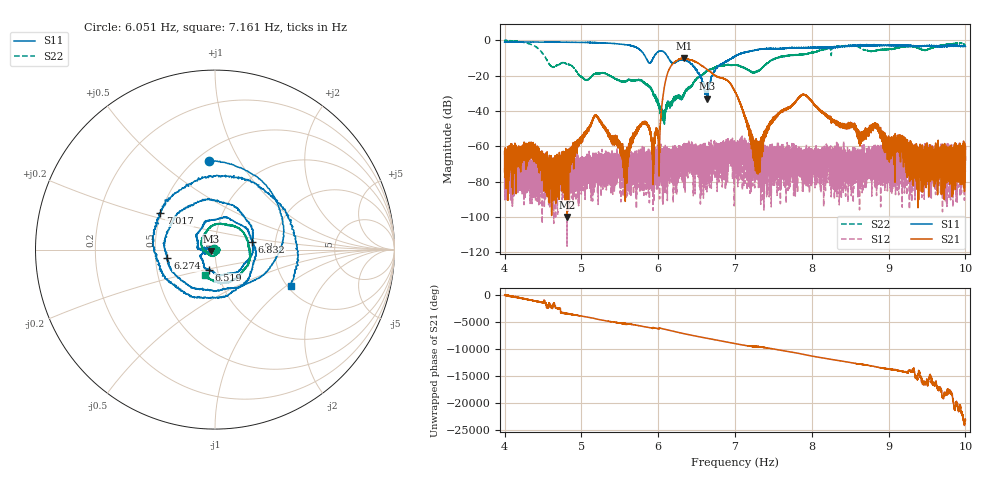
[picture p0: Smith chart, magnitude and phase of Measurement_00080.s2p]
!Created with skrf (http://scikit-rf.org).
# Hz S RI R 50.0
!freq ReS11 ImS11 ReS21 ImS21 ReS12 ImS12 ReS22 ImS22
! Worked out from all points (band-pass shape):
!   14001 points, 4 Hz to 10 Hz, reference 50 ohm
!   highest |S21| = -10.09 dB at 6.341 Hz (marker M1); lowest = -100.0 dB at 4.811 Hz (marker M2)
!   |S21| within 3 dB of the highest: 6.195 Hz to 6.522 Hz (327.6 mHz wide, 5.15 % of centre)
!   lowest |S11| = -33.1 dB at 6.641 Hz (marker M3), VSWR 1.04, Z = 48 - j0.74 ohm
!   |S11| at or under -10 dB: 5.84 Hz to 5.936 Hz (96.29 mHz wide, 1.64 % of centre); 6.131 Hz to 6.96 Hz (828.7 mHz wide, 12.7 % of centre); 6.960234 Hz to 6.961523 Hz (1.289 mHz wide, 0.0185 % of centre)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
!   |S22| runs from -47.5 to -0.2 dB; largest |S21 - S12| = 0.31
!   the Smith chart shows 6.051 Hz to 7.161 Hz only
!   S11 on the Smith chart (normalised r, x): 6.051 Hz: 0.58, +0.76; 6.274 Hz: 0.58, -0.06; 6.519 Hz: 0.91, -0.21; 6.832 Hz: 1.52, +0.13; 7.017 Hz: 0.50, +0.23; 7.161 Hz: 2.07, -1.08
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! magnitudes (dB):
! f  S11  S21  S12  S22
! 4 Hz  -1.1  -74.5  -84.6  -0.2
! 4.811 Hz  -1.2  -100.0  -82.2  -13.5
! 5 Hz  -1.3  -55.3  -82.2  -20.8
! 5.196 Hz  -1.5  -42.8  -67.9  -18.9
! 5.571 Hz  -2.6  -91.2  -70.9  -23.5
! 5.795 Hz  -6.9  -47.0  -64.2  -23.5
! 6 Hz  -6.5  -54.4  -65.3  -35.1
! 6.051 Hz  -6.1  -35.6  -65.8  -41.8
! 6.132 Hz  -10.0  -17.5  -69.0  -35.1
! 6.274 Hz  -11.4  -10.8  -69.2  -32.4
! 6.341 Hz  -10.9  -10.1  -64.1  -30.7
! 6.519 Hz  -18.5  -13.0  -67.4  -21.1
! 6.641 Hz  -33.1  -16.7  -63.2  -17.2
! 6.832 Hz  -13.5  -21.3  -62.0  -14.6
! 7 Hz  -9.1  -29.2  -61.7  -14.1
! 7.017 Hz  -8.7  -30.4  -61.5  -14.1
! 7.161 Hz  -6.6  -47.5  -62.8  -16.4
! 7.292 Hz  -5.4  -63.8  -67.1  -17.5
! 7.576 Hz  -5.0  -41.3  -69.3  -9.6
! 8 Hz  -4.4  -34.4  -75.8  -6.9
! 9 Hz  -3.0  -65.9  -65.5  -5.0
! 10 Hz  -3.6  -66.2  -62.1  -3.1
